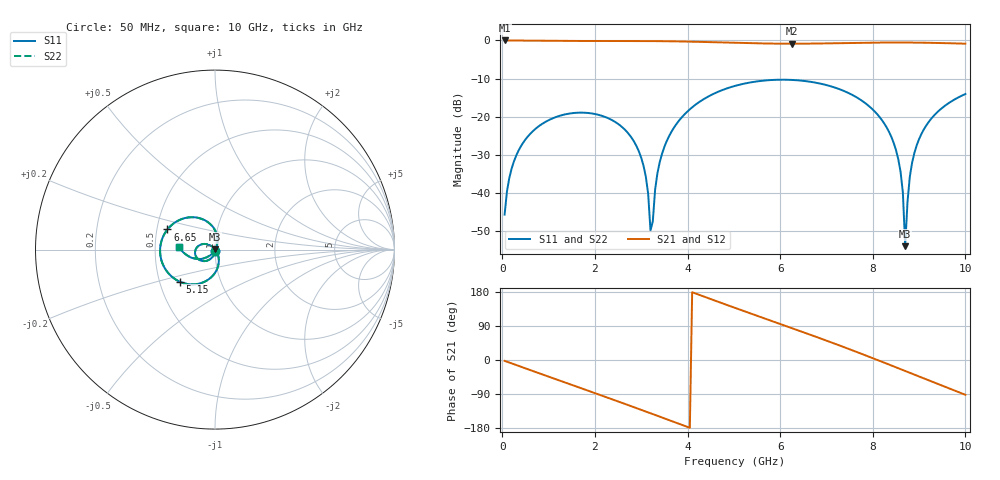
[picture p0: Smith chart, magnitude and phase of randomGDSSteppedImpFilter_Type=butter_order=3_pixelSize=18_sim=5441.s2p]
! freq	dB(S11)	phase(S11)	dB(S12)	phase(S12)
!  dB(S21)	phase(S21)	dB(S22)	phase(S22)
!S-par simulation data
#  GHz  S  DB  R 50
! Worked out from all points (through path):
!   200 points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, 50 MHz to 10 GHz, reference 50 ohm
!   highest |S21| = 0.00 dB at 50 MHz (marker M1); lowest = -0.9 dB at 6.25 GHz (marker M2)
!   group delay of S21, straight-line fit = 125 ps
!   lowest |S11| = -53.9 dB at 8.7 GHz (marker M3), VSWR 1.00, Z = 50.2 + j0.0599 ohm
!   |S11| at or under -10 dB: start of sweep to end of sweep
!   |S22| runs from -55.3 to -10.3 dB; largest |S21 - S12| = 0
!   S11 on the Smith chart (normalised r, x): 50 MHz: 1.00, -0.01; 5.15 GHz: 0.63, -0.24; 6.65 GHz: 0.57, +0.14; 10 GHz: 0.67, +0.02
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0.05  -45.61 -91.8  -0.00 -2.2  -0.00 -2.2  -45.61 -91.8
0.2  -33.62 -98.9  -0.02 -8.9  -0.02 -8.9  -33.62 -98.9
0.5  -25.93 -112.5  -0.04 -22.1  -0.04 -22.1  -25.93 -112.5
1.75  -18.91 -167.7  -0.14 -76.5  -0.14 -76.5  -18.91 -167.8
2.85  -26.59 142.8  -0.15 -124.8  -0.15 -124.8  -26.60 142.6
3.1  -35.72 128.5  -0.16 -136.0  -0.16 -136.0  -35.72 127.9
3.2  -49.78 102.3  -0.17 -140.5  -0.17 -140.5  -49.58 99.3
3.4  -31.85 -57.2  -0.19 -149.5  -0.19 -149.5  -31.85 -56.7
3.95  -19.17 -84.3  -0.29 -174.4  -0.29 -174.4  -19.17 -84.1
5.05  -11.82 -133.5  -0.63 136.4  -0.63 136.4  -11.82 -133.4
5.15  -11.51 -137.9  -0.66 132.0  -0.66 132.0  -11.51 -137.8
6.25  -10.34 174.5  -0.85 84.2  -0.85 84.2  -10.34 174.6
6.65  -10.82 157.0  -0.83 66.7  -0.83 66.7  -10.82 157.1
6.7  -10.92 154.8  -0.82 64.5  -0.82 64.5  -10.92 154.9
7.7  -15.26 108.9  -0.62 19.0  -0.62 19.0  -15.26 109.2
8.35  -23.92 77.0  -0.53 -11.9  -0.53 -11.9  -23.92 78.0
8.6  -34.39 62.5  -0.53 -24.0  -0.53 -24.0  -34.40 66.0
8.65  -39.84 57.0  -0.53 -26.5  -0.53 -26.5  -39.89 63.9
8.7  -53.87 17.1  -0.54 -28.9  -0.54 -28.9  -55.30 79.0
8.8  -35.67 -120.5  -0.54 -33.8  -0.54 -33.8  -35.68 -124.7
9  -25.83 -132.9  -0.57 -43.5  -0.57 -43.5  -25.83 -134.3
10  -14.03 176.6  -0.85 -91.9  -0.85 -91.9  -14.03 176.2
